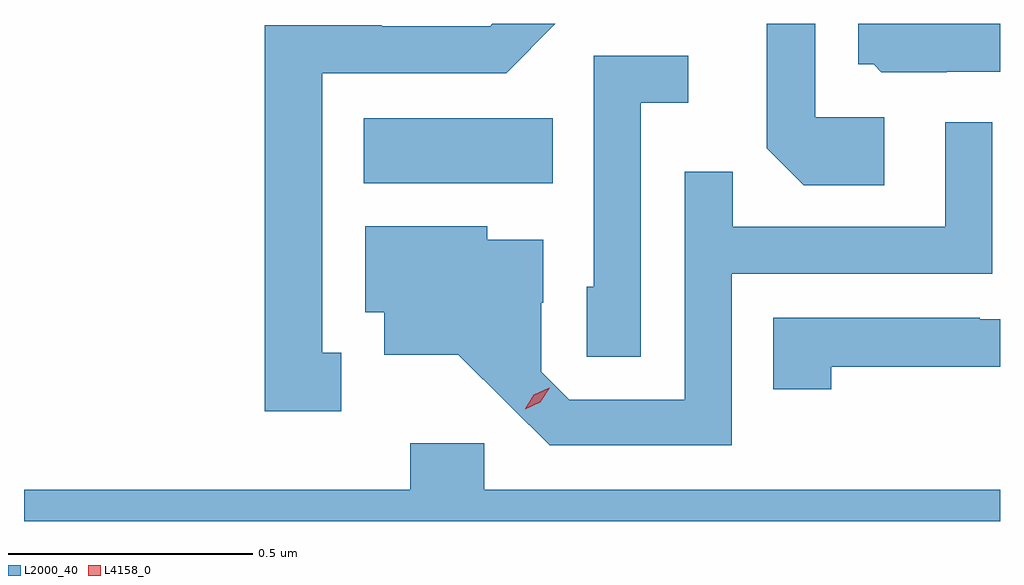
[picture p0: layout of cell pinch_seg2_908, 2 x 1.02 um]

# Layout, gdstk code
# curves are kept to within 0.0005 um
import gdstk
lib = gdstk.Library(unit=1e-6, precision=1e-09)
def R(c, l, rs):  # rectangles x0, y0, x1, y1
    for r in rs: c.add(gdstk.rectangle(r[:2], r[2:], *l))
def P(c, l, *ps):  # polygons
    for p in ps: c.add(gdstk.Polygon(p, *l))
L2000_40 = (2000, 40)
L4158_0 = (4158, 0)

pinch_seg2_908 = lib.new_cell('pinch_seg2_908')
R(pinch_seg2_908, L2000_40, [(375.131,584.492,375.518,584.626)])
P(pinch_seg2_908, L2000_40, [(376.326,584.721),(376.435,584.721),(376.435,584.819),(376.145,584.819),(376.145,584.736),(376.176,584.736),(376.192,584.72),(376.326,584.72)],
  [(375.085,584.145),(375.046,584.145),(375.046,584.718),(375.423,584.718),(375.524,584.819),(375.395,584.819),(375.39,584.814),(375.168,584.814),(375.168,584.816),(374.928,584.816),(374.928,584.025),(375.085,584.025)],
  [(376.198,584.628),(376.056,584.628),(376.056,584.819),(375.957,584.819),(375.957,584.564),(376.033,584.488),(376.198,584.488)],
  [(375.699,584.657),(375.796,584.657),(375.796,584.754),(375.603,584.754),(375.603,584.28),(375.588,584.28),(375.588,584.137),(375.699,584.137)],
  [(375.885,584.307),(376.419,584.307),(376.419,584.617),(376.323,584.617),(376.323,584.403),(375.887,584.403),(375.887,584.516),(375.789,584.516),(375.789,584.049),(375.552,584.049),(375.495,584.106),(375.495,584.248),(375.499,584.248),(375.499,584.377),(375.384,584.377),(375.384,584.404),(375.134,584.404),(375.134,584.228),(375.173,584.228),(375.173,584.141),(375.325,584.141),(375.512,583.956),(375.885,583.956)],
  [(376.089,584.116),(376.435,584.116),(376.435,584.214),(376.394,584.214),(376.394,584.217),(375.97,584.217),(375.97,584.07),(376.089,584.07)],
  [(376.435,583.864),(375.378,583.864),(375.378,583.96),(375.227,583.96),(375.227,583.864),(374.435,583.864),(374.435,583.8),(376.435,583.8)])
P(pinch_seg2_908, L4158_0, [(375.462,584.029),(375.462,584.03),(375.48,584.059),(375.511,584.073),(375.512,584.073),(375.512,584.073),(375.493,584.044),(375.462,584.029)])

lib.write_gds('pinch_seg2_908.gds')
